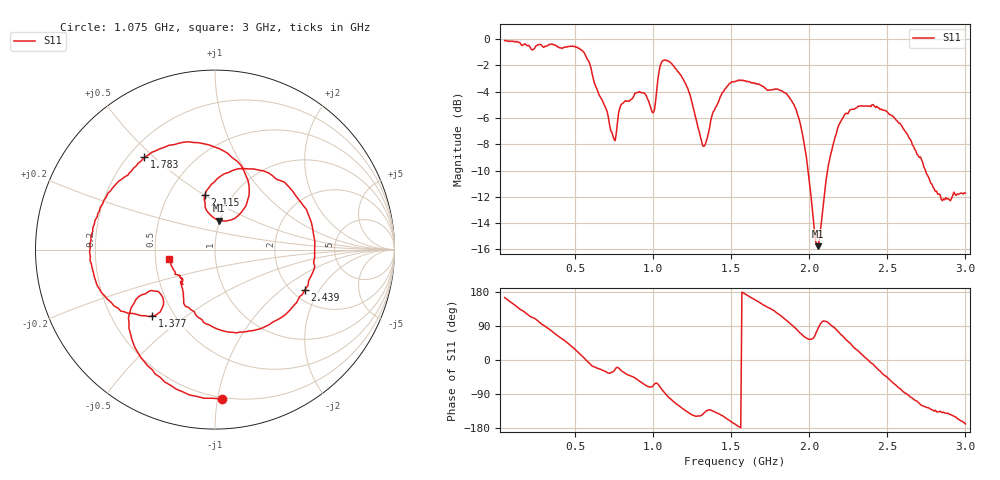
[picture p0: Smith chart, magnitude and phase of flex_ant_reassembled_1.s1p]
! nanovna_capture.py 2026-11-02T23:30:08+0900
! NanoVNA-F_V2 fw 0.6.0 SN 4A3639384505514B
! cal: load open short cal'ed  over 50000000-3000000000 Hz, 201 points
! points 401, avg 4
! Ledger Flex implant antenna, Flex reassembled (as far as the coax allows) after the shell-only capture, same coax routing. Antenna is much larger than the Nano X one (user)
# HZ S RI R 50
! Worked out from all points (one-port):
!   401 points, 50 MHz to 3 GHz, reference 50 ohm
!   lowest |S11| = -15.7 dB at 2.056 GHz (marker M1), VSWR 1.39, Z = 49.5 + j16.4 ohm
!   |S11| at or under -10 dB: 1.992 GHz to 2.117 GHz (125 MHz wide, 6.08 % of centre); 2.744 GHz to end of sweep
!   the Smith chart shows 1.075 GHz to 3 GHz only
!   S11 on the Smith chart (normalised r, x): 1.075 GHz: 0.19, -1.03; 1.377 GHz: 0.38, -0.38; 1.783 GHz: 0.26, +0.47; 2.115 GHz: 0.75, +0.50; 2.439 GHz: 2.34, -1.49; 3 GHz: 0.59, -0.06
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5e7  -0.9525 0.2592
1.45875e8  -0.6896 0.6845
2.7125e8  -0.1699 0.9368
4.1875e8  0.516 0.7624
5.29375e8  0.8796 0.2735
6.105e8  0.7086 -0.2019
7.35875e8  0.375 -0.2358
7.875e8  0.4991 -0.2239
9.27625e8  0.3149 -0.5416
1.00875e9  0.2346 -0.4817
1.03825e9  0.2917 -0.6916
1.075125e9  0.0407 -0.8325
1.15625e9  -0.3511 -0.6678
1.289e9  -0.3868 -0.2459
1.3775e9  -0.3518 -0.3707
1.525e9  -0.6766 -0.1302
1.783125e9  -0.3933 0.514
1.89375e9  -0.00831 0.5733
1.974875e9  0.1907 0.3265
2.056e9  0.0213 0.1617
2.115e9  -0.0567 0.3042
2.196125e9  0.1605 0.4514
2.2625e9  0.3866 0.3758
2.4395e9  0.5012 -0.223
2.535375e9  0.2559 -0.4405
2.63125e9  -0.0104 -0.4318
2.83775e9  -0.1821 -0.1805
3e9  -0.2544 -0.051
